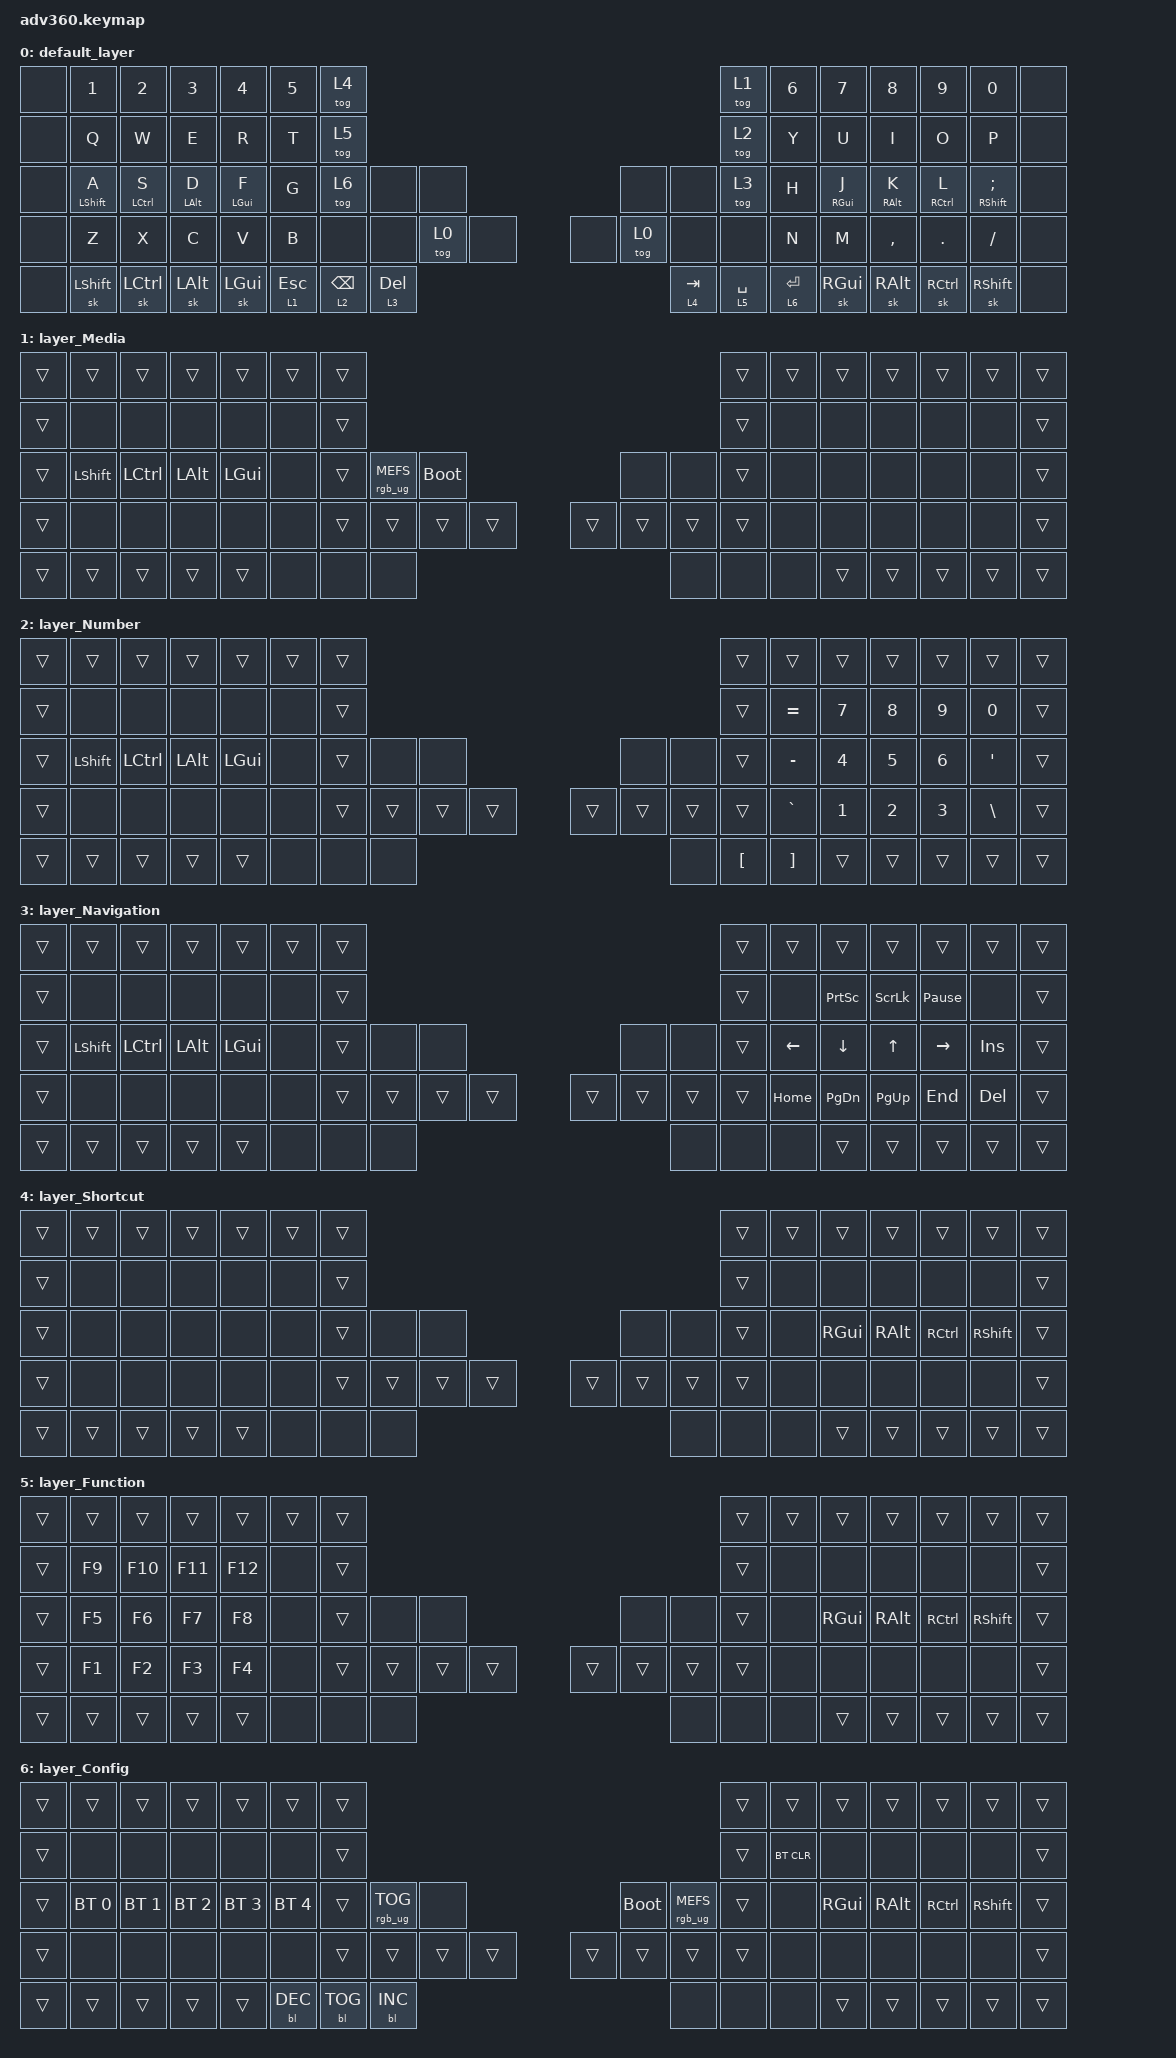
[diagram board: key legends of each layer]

/*
 * Copyright (c) 2020 The ZMK Contributors
 *
 * SPDX-License-Identifier: MIT
 */


/* THIS FILE WAS GENERATED!
 *
 * This file was generated automatically. You may or may not want to
 * edit it directly.
 */

#include <behaviors.dtsi>
#include <dt-bindings/zmk/keys.h>
#include <dt-bindings/zmk/rgb.h>
#include <dt-bindings/zmk/bt.h>
#include <dt-bindings/zmk/backlight.h>

/ {
  behaviors {
    #include "macros.dtsi"

    hm: homerow_mods {
        compatible = "zmk,behavior-hold-tap";
        label = "HOMEROW_MODS";
        #binding-cells = <2>;
        tapping-term-ms = <200>;
        quick_tap_ms = <175>;
        flavor = "tap-preferred";
        bindings = <&kp>, <&kp>;
    };
  };

    keymap {
        compatible = "zmk,keymap";


        default_layer {
            bindings = <
  &none      &kp NUMBER_1        &kp NUMBER_2    &kp NUMBER_3    &kp NUMBER_4  &kp NUMBER_5                     &tog 4        &tog 1  &kp NUMBER_6  &kp NUMBER_7  &kp NUMBER_8   &kp NUMBER_9   &kp NUMBER_0              &none
  &none             &kp Q               &kp W           &kp E           &kp R         &kp T                     &tog 5        &tog 2         &kp Y         &kp U         &kp I          &kp O          &kp P              &none
  &none  &mt LEFT_SHIFT A  &mt LEFT_CONTROL S  &mt LEFT_ALT D  &mt LEFT_GUI F         &kp G                     &tog 6         &none         &none                                      &none          &none             &tog 3            &kp H  &mt RIGHT_GUI J  &mt RIGHT_ALT K  &mt RIGHT_CONTROL L  &mt RIGHT_SHIFT SEMICOLON   &none
  &none             &kp Z               &kp X           &kp C           &kp V         &kp B                      &none         &none        &tog 0         &none         &none         &tog 0          &none              &none            &kp N            &kp M        &kp COMMA              &kp DOT                  &kp SLASH   &none
  &none    &sk LEFT_SHIFT    &sk LEFT_CONTROL    &sk LEFT_ALT    &sk LEFT_GUI  &lt 1 ESCAPE            &lt 2 BACKSPACE  &lt 3 DELETE     &lt 4 TAB   &lt 5 SPACE   &lt 6 ENTER  &sk RIGHT_GUI  &sk RIGHT_ALT  &sk RIGHT_CONTROL  &sk RIGHT_SHIFT            &none
            >;
        };

        layer_Media {
            bindings = <
 &trans          &trans            &trans        &trans        &trans  &trans            &trans                &trans       &trans  &trans  &trans  &trans  &trans  &trans
 &trans           &none             &none         &none         &none   &none            &trans                &trans        &none   &none   &none   &none   &none  &trans
 &trans  &kp LEFT_SHIFT  &kp LEFT_CONTROL  &kp LEFT_ALT  &kp LEFT_GUI   &none            &trans  &rgb_ug RGB_MEFS_CMD  &bootloader                   &none   &none  &trans   &none   &none   &none   &none   &none  &trans
 &trans           &none             &none         &none         &none   &none            &trans                &trans       &trans  &trans  &trans  &trans  &trans  &trans   &none   &none   &none   &none   &none  &trans
 &trans          &trans            &trans        &trans        &trans   &none             &none                 &none        &none   &none   &none  &trans  &trans  &trans  &trans  &trans
            >;
        };

        layer_Number {
            bindings = <
 &trans          &trans            &trans        &trans        &trans  &trans            &trans  &trans     &trans            &trans             &trans        &trans        &trans  &trans
 &trans           &none             &none         &none         &none   &none            &trans  &trans  &kp EQUAL      &kp NUMBER_7       &kp NUMBER_8  &kp NUMBER_9  &kp NUMBER_0  &trans
 &trans  &kp LEFT_SHIFT  &kp LEFT_CONTROL  &kp LEFT_ALT  &kp LEFT_GUI   &none            &trans   &none      &none                                              &none         &none  &trans  &kp MINUS  &kp NUMBER_4  &kp NUMBER_5  &kp NUMBER_6  &kp SINGLE_QUOTE  &trans
 &trans           &none             &none         &none         &none   &none            &trans  &trans     &trans            &trans             &trans        &trans        &trans  &trans  &kp GRAVE  &kp NUMBER_1  &kp NUMBER_2  &kp NUMBER_3     &kp BACKSLASH  &trans
 &trans          &trans            &trans        &trans        &trans   &none             &none   &none      &none  &kp LEFT_BRACKET  &kp RIGHT_BRACKET        &trans        &trans  &trans     &trans        &trans
            >;
        };

        layer_Navigation {
            bindings = <
 &trans          &trans            &trans        &trans        &trans  &trans            &trans  &trans  &trans           &trans          &trans           &trans  &trans  &trans
 &trans           &none             &none         &none         &none   &none            &trans  &trans   &none  &kp PRINTSCREEN  &kp SCROLLLOCK  &kp PAUSE_BREAK   &none  &trans
 &trans  &kp LEFT_SHIFT  &kp LEFT_CONTROL  &kp LEFT_ALT  &kp LEFT_GUI   &none            &trans   &none   &none                                             &none   &none  &trans  &kp LEFT_ARROW  &kp DOWN_ARROW  &kp UP_ARROW  &kp RIGHT_ARROW  &kp INSERT  &trans
 &trans           &none             &none         &none         &none   &none            &trans  &trans  &trans           &trans          &trans           &trans  &trans  &trans        &kp HOME   &kp PAGE_DOWN   &kp PAGE_UP          &kp END  &kp DELETE  &trans
 &trans          &trans            &trans        &trans        &trans   &none             &none   &none   &none            &none           &none           &trans  &trans  &trans          &trans          &trans
            >;
        };

        layer_Shortcut {
            bindings = <
 &trans  &trans  &trans  &trans  &trans  &trans            &trans  &trans  &trans  &trans  &trans  &trans  &trans  &trans
 &trans   &none   &none   &none   &none   &none            &trans  &trans   &none   &none   &none   &none   &none  &trans
 &trans   &none   &none   &none   &none   &none            &trans   &none   &none                   &none   &none  &trans   &none  &kp RIGHT_GUI  &kp RIGHT_ALT  &kp RIGHT_CONTROL  &kp RIGHT_SHIFT  &trans
 &trans   &none   &none   &none   &none   &none            &trans  &trans  &trans  &trans  &trans  &trans  &trans  &trans   &none          &none          &none              &none            &none  &trans
 &trans  &trans  &trans  &trans  &trans   &none             &none   &none   &none   &none   &none  &trans  &trans  &trans  &trans         &trans
            >;
        };

        layer_Function {
            bindings = <
 &trans  &trans   &trans   &trans   &trans  &trans            &trans  &trans  &trans  &trans  &trans  &trans  &trans  &trans
 &trans  &kp F9  &kp F10  &kp F11  &kp F12   &none            &trans  &trans   &none   &none   &none   &none   &none  &trans
 &trans  &kp F5   &kp F6   &kp F7   &kp F8   &none            &trans   &none   &none                   &none   &none  &trans   &none  &kp RIGHT_GUI  &kp RIGHT_ALT  &kp RIGHT_CONTROL  &kp RIGHT_SHIFT  &trans
 &trans  &kp F1   &kp F2   &kp F3   &kp F4   &none            &trans  &trans  &trans  &trans  &trans  &trans  &trans  &trans   &none          &none          &none              &none            &none  &trans
 &trans  &trans   &trans   &trans   &trans   &none             &none   &none   &none   &none   &none  &trans  &trans  &trans  &trans         &trans
            >;
        };

        layer_Config {
            bindings = <
 &trans        &trans        &trans        &trans        &trans        &trans                &trans           &trans      &trans  &trans  &trans       &trans                &trans  &trans
 &trans         &none         &none         &none         &none         &none                &trans           &trans  &bt BT_CLR   &none   &none        &none                 &none  &trans
 &trans  &bt BT_SEL 0  &bt BT_SEL 1  &bt BT_SEL 2  &bt BT_SEL 3  &bt BT_SEL 4                &trans  &rgb_ug RGB_TOG       &none                  &bootloader  &rgb_ug RGB_MEFS_CMD  &trans   &none  &kp RIGHT_GUI  &kp RIGHT_ALT  &kp RIGHT_CONTROL  &kp RIGHT_SHIFT  &trans
 &trans         &none         &none         &none         &none         &none                &trans           &trans      &trans  &trans  &trans       &trans                &trans  &trans   &none          &none          &none              &none            &none  &trans
 &trans        &trans        &trans        &trans        &trans    &bl BL_DEC            &bl BL_TOG       &bl BL_INC       &none   &none   &none       &trans                &trans  &trans  &trans         &trans
            >;
        };

    };
};
